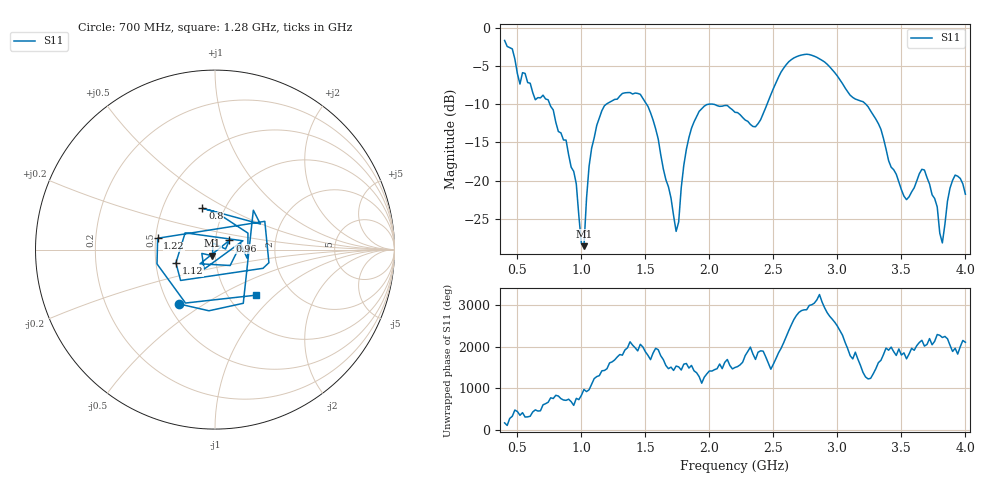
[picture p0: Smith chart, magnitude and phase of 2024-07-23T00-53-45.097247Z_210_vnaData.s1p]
!Created with skrf (http://scikit-rf.org).
# Hz S RI R 50.0
!freq ReS11 ImS11
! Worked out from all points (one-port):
!   181 points, 400 MHz to 4 GHz, reference 50 ohm
!   lowest |S11| = -28.6 dB at 1.02 GHz (marker M1), VSWR 1.08, Z = 48.5 - j3.34 ohm
!   |S11| at or under -10 dB: 753.5 MHz to 1.194 GHz (440.9 MHz wide, 45.3 % of centre); 1.509 GHz to 1.994 GHz (484.6 MHz wide, 27.7 % of centre); 3.222 GHz to end of sweep (the widest 3 of 4)
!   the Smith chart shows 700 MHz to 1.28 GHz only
!   S11 on the Smith chart (normalised r, x): 700 MHz: 0.57, -0.40; 800 MHz: 0.79, +0.38; 960 MHz: 1.17, +0.12; 1.12 GHz: 0.64, -0.10; 1.22 GHz: 0.51, +0.07; 1.28 GHz: 1.34, -0.77
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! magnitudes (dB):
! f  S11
! 400 MHz  -1.6
! 520 MHz  -7.4
! 700 MHz  -8.8
! 800 MHz  -12.4
! 860 MHz  -14.7
! 960 MHz  -20.4
! 1 GHz  -28.3
! 1.02 GHz  -28.6
! 1.06 GHz  -18.1
! 1.12 GHz  -12.8
! 1.22 GHz  -9.7
! 1.28 GHz  -9.3
! 1.3 GHz  -8.9
! 1.52 GHz  -10.3
! 1.74 GHz  -26.7
! 1.76 GHz  -25.4
! 1.82 GHz  -15.9
! 1.92 GHz  -10.9
! 2.2 GHz  -11.1
! 2.36 GHz  -13.0
! 2.66 GHz  -3.9
! 3.1 GHz  -8.8
! 3.3 GHz  -11.9
! 3.56 GHz  -22.1
! 3.68 GHz  -18.6
! 3.82 GHz  -28.2
! 3.9 GHz  -20.0
! 4 GHz  -21.8
